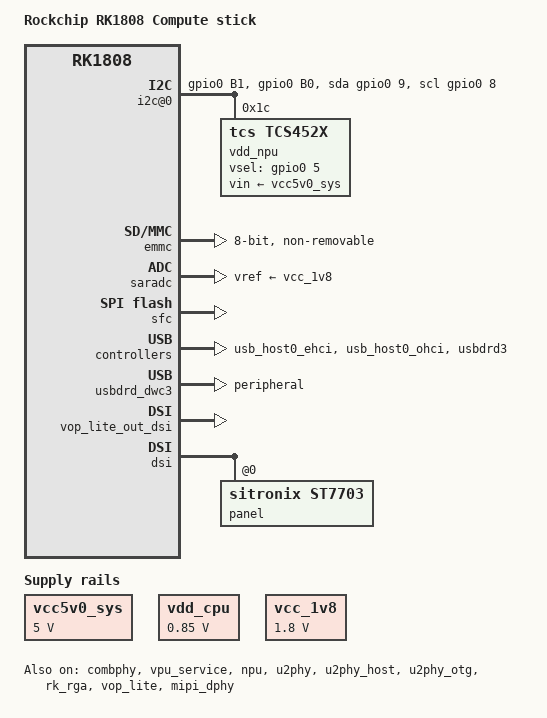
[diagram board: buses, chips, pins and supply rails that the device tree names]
// SPDX-License-Identifier: (GPL-2.0+ OR MIT)
// Copyright (c) 2018 Fuzhou Rockchip Electronics Co., Ltd.

#include <dt-bindings/display/drm_mipi_dsi.h>
#include <dt-bindings/display/media-bus-format.h>
#include <dt-bindings/gpio/gpio.h>
#include <dt-bindings/input/input.h>
#include <dt-bindings/pinctrl/rockchip.h>
#include <dt-bindings/sensor-dev.h>
#include "rk1808.dtsi"

/ {
	model = "Rockchip RK1808 Compute stick";
	compatible = "rockchip,rk1808-compute", "rockchip,rk1808";

	adc_key: adc-keys {
		compatible = "adc-keys";
		autorepeat;
		io-channels = <&saradc 2>;
		io-channel-names = "buttons";
		keyup-threshold-microvolt = <1800000>;
		poll-interval = <100>;
	};

	i2c@0 {
		compatible = "i2c-gpio";
		gpios = <&gpio0 9 GPIO_ACTIVE_HIGH>, /* sda */
			<&gpio0 8 GPIO_ACTIVE_HIGH>; /* scl */
		i2c-gpio,delay-us = <2>;        /* ~100 kHz */
		#address-cells = <1>;
		#size-cells = <0>;
		pinctrl-names = "default";
		pinctrl-0 = <&i2c0_gpio>;
		status = "okay";

		vdd_npu: tcs4525@1c {
			compatible = "tcs,tcs452x";
			reg = <0x1c>;
			vin-supply = <&vcc5v0_sys>;
			regulator-compatible = "fan53555-reg";
			pinctrl-names = "default";
			pinctrl-0 = <&en_gpio &vsel_gpio>;
			vsel-gpios = <&gpio0 5 GPIO_ACTIVE_HIGH>;
			regulator-name = "vdd_npu";
			regulator-min-microvolt = <750000>;
			regulator-max-microvolt = <950000>;
			regulator-ramp-delay = <2300>;
			fcs,suspend-voltage-selector = <0>;
			regulator-boot-on;
			regulator-state-mem {
				regulator-off-in-suspend;
			};
		};

	};

	fiq-debugger {
		compatible = "rockchip,fiq-debugger";
		rockchip,serial-id = <2>;
		rockchip,wake-irq = <0>;
		/* If enable uart uses irq instead of fiq */
		rockchip,irq-mode-enable = <0>;
		rockchip,baudrate = <1500000>;  /* Only 115200 and 1500000 */
		interrupts = <GIC_SPI 242 IRQ_TYPE_LEVEL_HIGH>;
		status = "okay";
	};

	firmware {
		optee {
			compatible = "linaro,optee-tz";
			method = "smc";
		};
	};

	reserved-memory {
		#address-cells = <2>;
		#size-cells = <2>;
		ranges;

		drm_logo: drm-logo@00000000 {
			compatible = "rockchip,drm-logo";
			reg = <0x0 0x0 0x0 0x0>;
		};

		ramoops_mem: region@110000 {
			reg = <0x0 0x110000 0x0 0xf0000>;
		};
	};

	ramoops: ramoops {
		compatible = "ramoops";
		record-size = <0x0 0x30000>;
		console-size = <0x0 0xc0000>;
		ftrace-size = <0x0 0x00000>;
		pmsg-size = <0x0 0x00000>;
		memory-region = <&ramoops_mem>;
	};

	vcc5v0_sys: vcc5v0-sys {
		compatible = "regulator-fixed";
		regulator-name = "vcc5v0_sys";
		regulator-always-on;
		regulator-boot-on;
		regulator-min-microvolt = <5000000>;
		regulator-max-microvolt = <5000000>;
	};

	vdd_cpu: vdd-cpu {
		compatible = "regulator-fixed";
		regulator-name = "vdd_cpu";
		regulator-always-on;
		regulator-boot-on;
		regulator-min-microvolt = <850000>;
		regulator-max-microvolt = <850000>;
	};

	vcc_1v8: vcc-1v8 {
		compatible = "regulator-fixed";
		regulator-name = "vcc_1v8";
		regulator-always-on;
		regulator-boot-on;
		regulator-min-microvolt = <1800000>;
		regulator-max-microvolt = <1800000>;
	};

      display_subsystem: display-subsystem {
                compatible = "rockchip,display-subsystem";
                ports = <&vop_lite_out>, <&vop_raw_out>;
                logo-memory-region = <&drm_logo>;
                status = "okay";

                route {
                        route_csi: route-csi {
                                status = "disabled";
                                logo,uboot = "logo.bmp";
                                logo,kernel = "logo_kernel.bmp";
                                logo,mode = "center";
                                charge_logo,mode = "center";
                                connect = <&vop_raw_out_csi>;
                        };

                        route_dsi: route-dsi {
                                status = "okay";
                                logo,uboot = "logo.bmp";
                                logo,kernel = "logo_kernel.bmp";
                                logo,mode = "center";
                                charge_logo,mode = "center";
                                connect = <&vop_lite_out_dsi>;
                        };

                        route_rgb: route-rgb {
                                status = "disabled";
                                logo,uboot = "logo.bmp";
                                logo,kernel = "logo_kernel.bmp";
                                logo,mode = "center";
                                charge_logo,mode = "center";
                                connect = <&vop_lite_out_rgb>;
                        };
                };
        };
};

&cpu0 {
	cpu-supply = <&vdd_cpu>;
};

&cpu1 {
	cpu-supply = <&vdd_cpu>;
};

&combphy {
	status = "okay";
};

&vpu_service {
	status = "okay";
};

&vpu_mmu {
	status = "okay";
};

&emmc {
	bus-width = <8>;
	cap-mmc-highspeed;
	max-frequency = <150000000>;
	mmc-hs200-1_8v;
	supports-emmc;
	non-removable;
	num-slots = <1>;
	status = "okay";
};

&npu {
	npu-supply = <&vdd_npu>;
	status = "okay";
};

&power {
	pd_npu-supply = <&vdd_npu>;
};

&saradc {
	status = "okay";
	vref-supply = <&vcc_1v8>;
};

&sfc {
	status = "okay";
};

&u2phy {
	status = "okay";
};

&u2phy_host {
	status = "okay";
};

&u2phy_otg {
	rockchip,vbus-always-on;
	status = "okay";
};

&usb_host0_ehci {
	status = "okay";
};

&usb_host0_ohci {
	status = "okay";
};

&usbdrd3 {
	status = "okay";
};

&usbdrd_dwc3 {
	dr_mode = "peripheral";
	snps,tx-fifo-resize;
	status = "okay";
};

&display_subsystem {
	status = "okay";
};

&route_dsi {
	status = "okay";
};

&rk_rga {
	status = "okay";
};

&vop_lite {
	status = "okay";
};

&vopl_mmu {
        status = "okay";
};

&vop_lite_out_dsi {
	status = "okay";
};


&mipi_dphy {
        status = "okay";
};

&dsi {
	status = "okay";

	panel@0 {
		compatible = "sitronix,st7703", "simple-panel-dsi";
		reg = <0>;
		//backlight = <&backlight>;
		prepare-delay-ms = <2>;
		reset-delay-ms = <1>;
		init-delay-ms = <20>;
		enable-delay-ms = <120>;
		disable-delay-ms = <50>;
		unprepare-delay-ms = <20>;

		width-mm = <68>;
		height-mm = <121>;

		dsi,flags = <(MIPI_DSI_MODE_VIDEO | MIPI_DSI_MODE_VIDEO_BURST |
			      MIPI_DSI_MODE_LPM | MIPI_DSI_MODE_EOT_PACKET)>;
		dsi,format = <MIPI_DSI_FMT_RGB888>;
		dsi,lanes = <4>;

		panel-init-sequence = [
			05 fa 01 11
			39 00 04 b9 f1 12 83
			39 00 1c ba 33 81 05 f9 0e 0e 00 00 00
				 00 00 00 00 00 44 25 00 91 0a
				 00 00 02 4f 01 00 00 37
			15 00 02 b8 25
			39 00 04 bf 02 11 00
			39 00 0b b3 0c 10 0a 50 03 ff 00 00 00
				 00
			39 00 0a c0 73 73 50 50 00 00 08 70 00
			15 00 02 bc 46
			15 00 02 cc 0b
			15 00 02 b4 80
			39 00 04 b2 c8 12 30
			39 00 0f e3 07 07 0b 0b 03 0b 00 00 00
				 00 ff 00 c0 10
			39 00 0d c1 53 00 1e 1e 77 e1 cc dd 67
				 77 33 33
			39 00 07 c6 00 00 ff ff 01 ff
			39 00 03 b5 09 09
			39 00 03 b6 87 95
			39 00 40 e9 c2 10 05 05 10 05 a0 12 31
				 23 3f 81 0a a0 37 18 00 80 01
				 00 00 00 00 80 01 00 00 00 48
				 f8 86 42 08 88 88 80 88 88 88
				 58 f8 87 53 18 88 88 81 88 88
				 88 00 00 00 01 00 00 00 00 00
				 00 00 00 00
			39 00 3e ea 00 1a 00 00 00 00 02 00 00
				 00 00 00 1f 88 81 35 78 88 88
				 85 88 88 88 0f 88 80 24 68 88
				 88 84 88 88 88 23 10 00 00 1c
				 00 00 00 00 00 00 00 00 00 00
				 00 00 00 00 00 30 05 a0 00 00
				 00 00
			39 00 23 e0 00 06 08 2a 31 3f 38 36 07
				 0c 0d 11 13 12 13 11 18 00 06
				 08 2a 31 3f 38 36 07 0c 0d 11
				 13 12 13 11 18
			05 32 01 29
		];

		panel-exit-sequence = [
			05 00 01 28
			05 00 01 10
		];

		display-timings {
			native-mode = <&timing0>;

			timing0: timing0 {
				clock-frequency = <64000000>;
				hactive = <720>;
				vactive = <1280>;
				hfront-porch = <40>;
				hsync-len = <10>;
				hback-porch = <40>;
				vfront-porch = <22>;
				vsync-len = <4>;
				vback-porch = <11>;
				hsync-active = <0>;
				vsync-active = <0>;
				de-active = <0>;
				pixelclk-active = <0>;
			};
		};
	};
};

&pinctrl {

	pmic {
		en_gpio: en-gpio {
			rockchip,pins =
				<0 RK_PC4 0 &pcfg_pull_up>;
		};

		vsel_gpio: vsel-gpio {
				rockchip,pins =
				<0 RK_PA5 0 &pcfg_pull_down>;
		};
		i2c0_gpio: i2c0-gpio {
				rockchip,pins =
					/* i2c0_sda */
					<0 RK_PB1 0 &pcfg_pull_up>,
					/* i2c0_scl */
					<0 RK_PB0 0 &pcfg_pull_up>;
		};
	};
};
